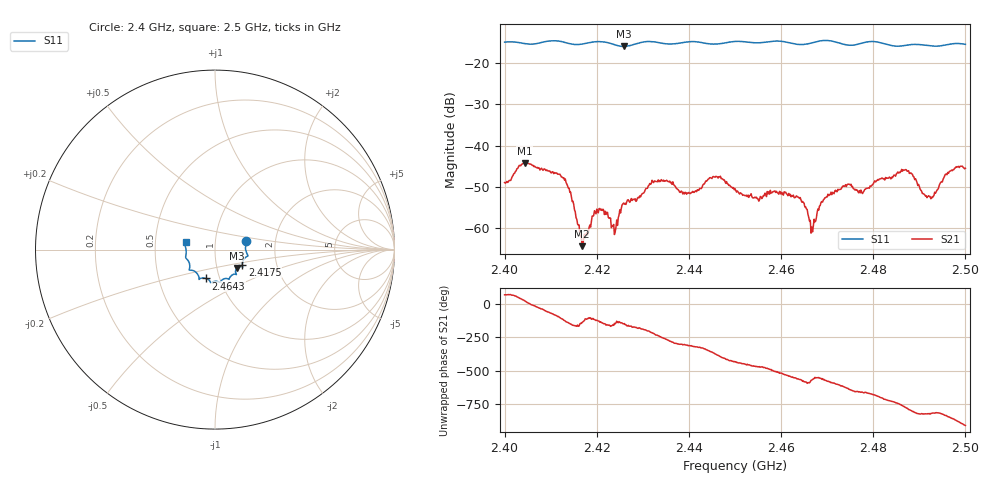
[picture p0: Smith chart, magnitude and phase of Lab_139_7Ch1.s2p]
# Hz S RI R 50
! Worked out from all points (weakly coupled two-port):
!   601 points, 2.4 GHz to 2.5 GHz, reference 50 ohm
!   highest |S21| = -44.19 dB at 2.4043 GHz (marker M1); lowest = -64.4 dB at 2.4168 GHz (marker M2)
!   lowest |S11| = -15.9 dB at 2.4258 GHz (marker M3), VSWR 1.38, Z = 62.3 - j13.2 ohm
!   |S11| at or under -10 dB: start of sweep to end of sweep
!   S12 and S22 are empty: the file has one direction only
!   S11 on the Smith chart (normalised r, x): 2.4 GHz: 1.41, +0.14; 2.4175 GHz: 1.33, -0.23; 2.4643 GHz: 0.86, -0.28; 2.5 GHz: 0.72, +0.06
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2.4e9  0.1733 0.0491  0.00117 0.00337  0 0  0 0
2.404333e9  0.1714 0.0225  0.00557 0.00267  0 0  0 0
2.412833e9  0.1758 -0.0396  -0.00206 -0.00352  0 0  0 0
2.416667e9  0.1529 -0.0742  -0.000619 -0.000445  0 0  0 0
2.416833e9  0.1527 -0.0763  -0.00044 -0.000412  0 0  0 0
2.4175e9  0.1517 -0.0838  -0.000253 -0.000716  0 0  0 0
2.42e9  0.1542 -0.0979  -0.000852 -0.00146  0 0  0 0
2.421833e9  0.1528 -0.0954  -0.00136 -0.000835  0 0  0 0
2.423667e9  0.1403 -0.0939  -0.00103 -0.000395  0 0  0 0
2.425833e9  0.1218 -0.103  -0.0017 -0.00107  0 0  0 0
2.433333e9  0.1136 -0.137  -0.00205 0.00324  0 0  0 0
2.44e9  0.0789 -0.164  0.00179 0.00203  0 0  0 0
2.446333e9  0.0448 -0.1655  0.00367 -0.00169  0 0  0 0
2.45e9  0.0291 -0.1815  0.000837 -0.00289  0 0  0 0
2.464333e9  -0.0497 -0.1605  -0.00189 0.00108  0 0  0 0
2.466667e9  -0.0761 -0.159  -0.000889 0.000517  0 0  0 0
2.470667e9  -0.088 -0.1649  -0.00179 0.0018  0 0  0 0
2.483333e9  -0.1406 -0.0896  0.00403 -0.000324  0 0  0 0
2.487167e9  -0.1562 -0.0542  0.00257 -0.0044  0 0  0 0
2.492667e9  -0.1606 -0.0181  -0.000473 -0.00232  0 0  0 0
2.496167e9  -0.1667 0.0217  -0.00274 -0.00386  0 0  0 0
2.5e9  -0.1639 0.0426  -0.00519 0.00113  0 0  0 0
